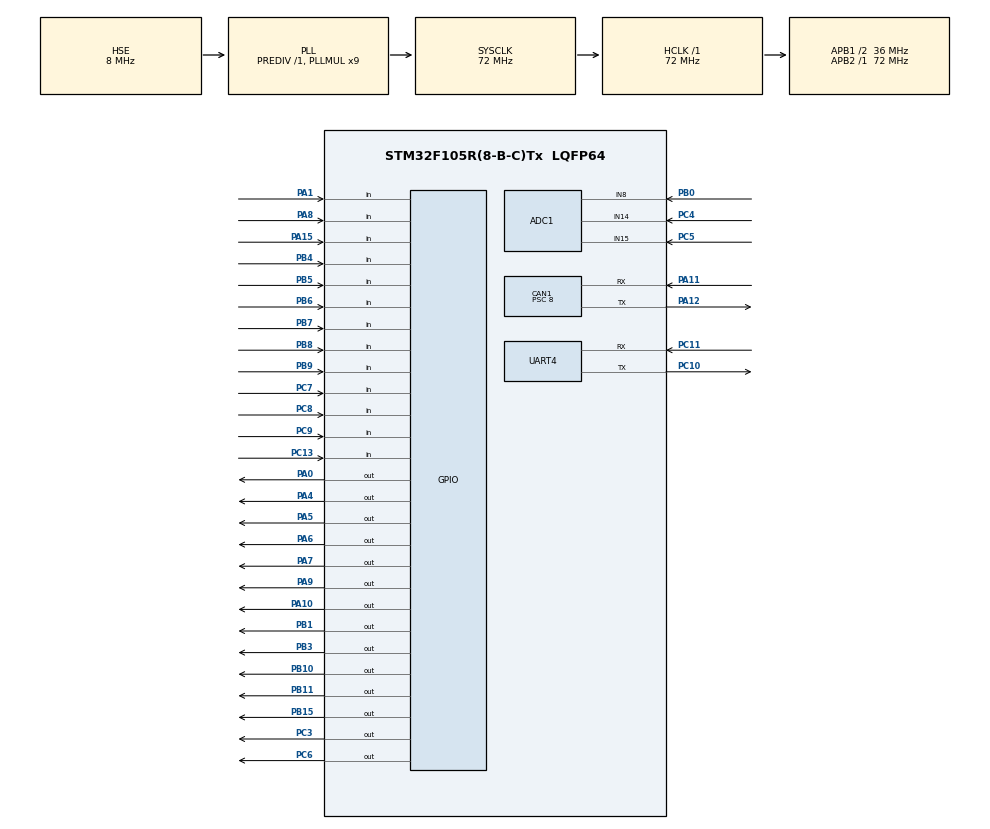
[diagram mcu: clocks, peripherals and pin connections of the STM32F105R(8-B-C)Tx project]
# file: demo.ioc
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ADC1.Channel-0\#ChannelRegularConversion=ADC_CHANNEL_8
ADC1.Channel-1\#ChannelRegularConversion=ADC_CHANNEL_14
ADC1.Channel-2\#ChannelRegularConversion=ADC_CHANNEL_15
ADC1.ContinuousConvMode=ENABLE
ADC1.NbrOfConversion=3
ADC1.NbrOfConversionFlag=1
ADC1.Rank-0\#ChannelRegularConversion=1
ADC1.Rank-1\#ChannelRegularConversion=2
ADC1.Rank-2\#ChannelRegularConversion=3
ADC1.SamplingTime-0\#ChannelRegularConversion=ADC_SAMPLETIME_71CYCLES_5
ADC1.SamplingTime-1\#ChannelRegularConversion=ADC_SAMPLETIME_71CYCLES_5
ADC1.SamplingTime-2\#ChannelRegularConversion=ADC_SAMPLETIME_71CYCLES_5
ADC1.master=1
CAN1.BS1=CAN_BS1_5TQ
CAN1.BS2=CAN_BS2_3TQ
CAN1.CalculateBaudRate=500000
CAN1.CalculateTimeBit=2000
CAN1.CalculateTimeQuantum=222.22222222222223
CAN1.NART=ENABLE
CAN1.Prescaler=8
Dma.ADC1.0.Direction=DMA_PERIPH_TO_MEMORY
Dma.ADC1.0.Instance=DMA1_Channel1
Dma.ADC1.0.MemDataAlignment=DMA_MDATAALIGN_HALFWORD
Dma.ADC1.0.MemInc=DMA_MINC_ENABLE
Dma.ADC1.0.Mode=DMA_CIRCULAR
Dma.ADC1.0.PeriphDataAlignment=DMA_PDATAALIGN_HALFWORD
Dma.ADC1.0.PeriphInc=DMA_PINC_DISABLE
Dma.ADC1.0.Priority=DMA_PRIORITY_LOW
Dma.Request0=ADC1
Mcu.Family=STM32F1
Mcu.Name=STM32F105R(8-B-C)Tx
Mcu.Package=LQFP64
NVIC.CAN1_RX0_IRQn=true\:0\:0\:false\:false\:true\:true\:true\:true
NVIC.DMA1_Channel1_IRQn=true\:0\:0\:false\:false\:true\:false\:true\:true
NVIC.PriorityGroup=NVIC_PRIORITYGROUP_4
NVIC.TIM3_IRQn=true\:0\:0\:false\:false\:true\:true\:true\:true
NVIC.UART4_IRQn=true\:0\:0\:false\:false\:true\:true\:true\:true
PA0-WKUP.GPIO_PuPd=GPIO_PULLUP
PA0-WKUP.GPIO_Speed=GPIO_SPEED_FREQ_MEDIUM
PA0-WKUP.PinState=GPIO_PIN_SET
PA0-WKUP.Signal=GPIO_Output
PA1.GPIO_PuPd=GPIO_PULLUP
PA1.Signal=GPIO_Input
PA10.GPIO_PuPd=GPIO_PULLUP
PA10.GPIO_Speed=GPIO_SPEED_FREQ_MEDIUM
PA10.Signal=GPIO_Output
PA11.Mode=CAN_Activate
PA11.Signal=CAN1_RX
PA12.Mode=CAN_Activate
PA12.Signal=CAN1_TX
PA13.Mode=Serial_Wire
PA13.Signal=SYS_JTMS-SWDIO
PA14.Mode=Serial_Wire
PA14.Signal=SYS_JTCK-SWCLK
PA15.GPIO_PuPd=GPIO_PULLUP
PA15.Signal=GPIO_Input
PA4.GPIO_PuPd=GPIO_PULLUP
PA4.GPIO_Speed=GPIO_SPEED_FREQ_MEDIUM
PA4.PinState=GPIO_PIN_SET
PA4.Signal=GPIO_Output
PA5.Signal=GPIO_Output
PA6.Signal=GPIO_Output
PA7.Signal=GPIO_Output
PA8.GPIO_PuPd=GPIO_PULLUP
PA8.Signal=GPIO_Input
PA9.GPIO_PuPd=GPIO_PULLUP
PA9.GPIO_Speed=GPIO_SPEED_FREQ_MEDIUM
PA9.PinState=GPIO_PIN_RESET
PA9.Signal=GPIO_Output
PB0.Signal=ADCx_IN8
PB1.GPIO_PuPd=GPIO_PULLDOWN
PB1.GPIO_Speed=GPIO_SPEED_FREQ_MEDIUM
PB1.Signal=GPIO_Output
PB10.GPIO_PuPd=GPIO_PULLUP
PB10.GPIO_Speed=GPIO_SPEED_FREQ_HIGH
PB10.PinState=GPIO_PIN_SET
PB10.Signal=GPIO_Output
PB11.GPIO_PuPd=GPIO_PULLUP
PB11.GPIO_Speed=GPIO_SPEED_FREQ_HIGH
PB11.PinState=GPIO_PIN_SET
PB11.Signal=GPIO_Output
PB15.GPIO_PuPd=GPIO_PULLUP
PB15.GPIO_Speed=GPIO_SPEED_FREQ_MEDIUM
PB15.PinState=GPIO_PIN_SET
PB15.Signal=GPIO_Output
PB3.GPIO_PuPd=GPIO_PULLUP
PB3.GPIO_Speed=GPIO_SPEED_FREQ_MEDIUM
PB3.PinState=GPIO_PIN_SET
PB3.Signal=GPIO_Output
PB4.GPIO_PuPd=GPIO_PULLUP
PB4.Signal=GPIO_Input
PB5.GPIO_PuPd=GPIO_PULLUP
PB5.Signal=GPIO_Input
PB6.Signal=GPIO_Input
PB7.GPIO_PuPd=GPIO_PULLDOWN
PB7.Signal=GPIO_Input
PB8.GPIO_PuPd=GPIO_PULLUP
PB8.Signal=GPIO_Input
PB9.GPIO_PuPd=GPIO_PULLUP
PB9.Signal=GPIO_Input
PC10.Mode=Asynchronous
PC10.Signal=UART4_TX
PC11.GPIO_PuPd=GPIO_PULLUP
PC11.Mode=Asynchronous
PC11.Signal=UART4_RX
PC13-TAMPER-RTC.GPIO_PuPd=GPIO_PULLUP
PC13-TAMPER-RTC.Signal=GPIO_Input
PC3.GPIO_PuPd=GPIO_PULLUP
PC3.GPIO_Speed=GPIO_SPEED_FREQ_MEDIUM
PC3.PinState=GPIO_PIN_SET
PC3.Signal=GPIO_Output
PC4.Signal=ADCx_IN14
PC5.Signal=ADCx_IN15
PC6.GPIO_PuPd=GPIO_PULLUP
PC6.GPIO_Speed=GPIO_SPEED_FREQ_MEDIUM
PC6.PinState=GPIO_PIN_SET
PC6.Signal=GPIO_Output
PC7.GPIO_PuPd=GPIO_PULLUP
PC7.Signal=GPIO_Input
PC8.GPIO_PuPd=GPIO_PULLUP
PC8.Signal=GPIO_Input
PC9.GPIO_PuPd=GPIO_PULLUP
PC9.Signal=GPIO_Input
PD0-OSC_IN.Mode=HSE-External-Oscillator
PD0-OSC_IN.Signal=RCC_OSC_IN
PD1-OSC_OUT.Mode=HSE-External-Oscillator
PD1-OSC_OUT.Signal=RCC_OSC_OUT
ProjectManager.HeapSize=0x200
ProjectManager.StackSize=0x400
ProjectManager.TargetToolchain=STM32CubeIDE
RCC.ADCPresc=RCC_ADCPCLK2_DIV6
RCC.AHBFreq_Value=72000000
RCC.APB1CLKDivider=RCC_HCLK_DIV2
RCC.APB1Freq_Value=36000000
RCC.APB1TimFreq_Value=72000000
RCC.APB2Freq_Value=72000000
RCC.APB2TimFreq_Value=72000000
RCC.HCLKFreq_Value=72000000
RCC.PLLMUL=RCC_PLL_MUL9
RCC.PLLSourceVirtual=RCC_PLLSOURCE_HSE
RCC.SYSCLKFreq_VALUE=72000000
RCC.SYSCLKSource=RCC_SYSCLKSOURCE_PLLCLK
RCC.USBFreq_Value=48000000
SH.ADCx_IN14.0=ADC1_IN14,IN14
SH.ADCx_IN15.0=ADC1_IN15,IN15
SH.ADCx_IN8.0=ADC1_IN8,IN8
TIM3.AutoReloadPreload=TIM_AUTORELOAD_PRELOAD_ENABLE
TIM3.Period=4999
TIM3.Prescaler=7199
UART4.VirtualMode=Asynchronous
VP_TIM3_VS_ClockSourceINT.Mode=Internal
board=custom

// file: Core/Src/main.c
/* USER CODE BEGIN Header */
/**
  ******************************************************************************
  * @file           : main.c
  * @brief          : Main program body
  ******************************************************************************
  * @attention
  *
  * Copyright (c) 2025 STMicroelectronics.
  * All rights reserved.
  *
  * This software is licensed under terms that can be found in the LICENSE file
  * in the root directory of this software component.
  * If no LICENSE file comes with this software, it is provided AS-IS.
  *
  ******************************************************************************
  */
/* USER CODE END Header */
#include "main.h"
#include "adc.h"
#include "can.h"
#include "dma.h"
#include "tim.h"
#include "usart.h"
#include "gpio.h"

/* USER CODE BEGIN Includes */
#include "stdio.h"
#include "debug_console.h"   // 服务层头文件
#include "shell_app.h"       // 应用层头文件
#include "string.h"          // 用于字符串比较
#include "soft_spi.h"
#include "SPI_LCD.h"         // LCD 驱动
#include "key_app.h"
#include "can_app.h"
#include "menu_app.h"        // 菜单模块
/* USER CODE END Includes */

/* USER CODE BEGIN PV */
#define FW_VERSION  "V1.0.0"   // 软件版本号
#define ADC_CH_NUM 3
uint16_t adc_values[ADC_CH_NUM];
/* USER CODE END PV */

void SystemClock_Config(void);

/* USER CODE BEGIN 0 */
/**
 * @brief 执行系统软件复位（绕过所有封装，直接写寄存器）
 */
void SystemSoftReset(void)
{
    /* 1. 等待串口发送完成（如果正在使用 printf） */
    for (volatile int i = 0; i < 100000; i++) { __NOP(); }

    /* 2. 禁用全局中断，防止复位过程被打断 */
    __disable_irq();

    /* 3. 使用 SysTick 延时 1ms，确保复位信号稳定 */
    SysTick->LOAD = 72000 - 1;          // 假设系统时钟为 72MHz
    SysTick->VAL  = 0;
    SysTick->CTRL = 5;                  // 使用内核时钟，使能定时器
    while (!(SysTick->CTRL & (1 << 16))); // 等待计数到 0
    SysTick->CTRL = 0;

    /* 4. 直接写 SCB 寄存器触发系统复位 */
    SCB->AIRCR = ((0x5FA << SCB_AIRCR_VECTKEY_Pos) | SCB_AIRCR_SYSRESETREQ_Msk);
    __DSB();   // 数据同步屏障
    __ISB();   // 指令同步屏障

    /* 5. 若复位失败，则死循环防止程序继续执行 */
    while(1);
}
/* USER CODE END 0 */

int main(void)
{

  /* MCU Configuration--------------------------------------------------------*/

  /* Reset of all peripherals, Initializes the Flash interface and the Systick. */
  HAL_Init();

  /* Configure the system clock */
  SystemClock_Config();

  /* Initialize all configured peripherals */
  MX_GPIO_Init();
  MX_DMA_Init();
  MX_TIM3_Init();
  MX_UART4_Init();
  MX_ADC1_Init();
  MX_CAN1_Init();
  /* USER CODE BEGIN 2 */
  HAL_TIM_Base_Start_IT(&htim3);

  Console_Init();   // 初始化调试控制台（开启接收中断、打印欢迎信息）
  CAN_App_Init();   // 初始化 CAN 应用层

  /* ---------- LCD12864 初始化 ---------- */
//  printf("Initializing LCD12864...\r\n");
  Lcd_Init();
  HAL_Delay(10);
  LCD_Clear();

  /* ---------- 启动 ADC-DMA 并初始化按键 ---------- */
//  printf("Starting ADC DMA for key scan...\r\n");
  HAL_ADC_Start_DMA(&hadc1, (uint32_t*)adc_values, ADC_CH_NUM);
  Key_Init();       // 初始化按键状态和消抖结构

  /* ---------- 菜单模块初始化（接管 LCD 显示，默认进入 Page_CAN_Tx） ---------- */
  Menu_Init();      // 绘制默认页面并开启光标（如果处于 Tx 页）

//  printf("System ready. Current page: CAN_Tx\r\n");
//  printf("> ");
  /* USER CODE END 2 */

  /* Infinite loop */
  while (1)
  {

    /* USER CODE BEGIN 3 */
    // 1. 处理串口 Shell 命令
	  // 检查是否有 CAN 接收数据需要刷新 LCD
	  if (rx_data_ready) {
	      rx_data_ready = 0;
	      Menu_NotifyRxDataUpdated();
	  }
	  if (rx_packet1_ready) {
	      rx_packet1_ready = 0;
	      Menu_NotifyRxDataUpdated();
	  }

    char cmd[128];
    if (Console_ReadLine(cmd, sizeof(cmd))) {
        printf("Got: %s\r\n", cmd);
        Shell_Execute(cmd);
        printf("> ");
    }

    // 2. 按键扫描与处理（内部包含长短按分发、页面刷新）
    Key_ScanAndDisplay();

    // 3. CAN 报文调度发送
    CAN_App_Process();

    // 4. 调试代码（每秒打印 PB6 状态，可根据需要注释掉）
/*    static uint32_t last_diag = 0;
    if (HAL_GetTick() - last_diag > 1000) {
        last_diag = HAL_GetTick();
        uint32_t idr = GPIOB->IDR;
        uint8_t idr_bit6 = (idr & GPIO_PIN_6) ? 1 : 0;
        uint8_t hal_bit6 = HAL_GPIO_ReadPin(GPIOB, GPIO_PIN_6);
        printf("IDR=0x%08lX, bit6=%d, HAL=%d\r\n", idr, idr_bit6, hal_bit6);
    }
*/
    HAL_Delay(10); // 10ms 扫描周期，保证响应速度
    /* USER CODE END 3 */
  }
  /* USER CODE END 3 */
}

void SystemClock_Config(void)
{
  RCC_OscInitTypeDef RCC_OscInitStruct = {0};
  RCC_ClkInitTypeDef RCC_ClkInitStruct = {0};
  RCC_PeriphCLKInitTypeDef PeriphClkInit = {0};

  /** Initializes the RCC Oscillators according to the specified parameters
  * in the RCC_OscInitTypeDef structure.
  */
  RCC_OscInitStruct.OscillatorType = RCC_OSCILLATORTYPE_HSE;
  RCC_OscInitStruct.HSEState = RCC_HSE_ON;
  RCC_OscInitStruct.HSEPredivValue = RCC_HSE_PREDIV_DIV1;
  RCC_OscInitStruct.HSIState = RCC_HSI_ON;
  RCC_OscInitStruct.Prediv1Source = RCC_PREDIV1_SOURCE_HSE;
  RCC_OscInitStruct.PLL.PLLState = RCC_PLL_ON;
  RCC_OscInitStruct.PLL.PLLSource = RCC_PLLSOURCE_HSE;
  RCC_OscInitStruct.PLL.PLLMUL = RCC_PLL_MUL9;
  RCC_OscInitStruct.PLL2.PLL2State = RCC_PLL_NONE;
  if (HAL_RCC_OscConfig(&RCC_OscInitStruct) != HAL_OK)
  {
    Error_Handler();
  }

  /** Initializes the CPU, AHB and APB buses clocks
  */
  RCC_ClkInitStruct.ClockType = RCC_CLOCKTYPE_HCLK|RCC_CLOCKTYPE_SYSCLK
                              |RCC_CLOCKTYPE_PCLK1|RCC_CLOCKTYPE_PCLK2;
  RCC_ClkInitStruct.SYSCLKSource = RCC_SYSCLKSOURCE_PLLCLK;
  RCC_ClkInitStruct.AHBCLKDivider = RCC_SYSCLK_DIV1;
  RCC_ClkInitStruct.APB1CLKDivider = RCC_HCLK_DIV2;
  RCC_ClkInitStruct.APB2CLKDivider = RCC_HCLK_DIV1;

  if (HAL_RCC_ClockConfig(&RCC_ClkInitStruct, FLASH_LATENCY_2) != HAL_OK)
  {
    Error_Handler();
  }
  PeriphClkInit.PeriphClockSelection = RCC_PERIPHCLK_ADC;
  PeriphClkInit.AdcClockSelection = RCC_ADCPCLK2_DIV6;
  if (HAL_RCCEx_PeriphCLKConfig(&PeriphClkInit) != HAL_OK)
  {
    Error_Handler();
  }

  /** Configure the Systick interrupt time
  */
  __HAL_RCC_PLLI2S_ENABLE();
}

void Error_Handler(void)
{
  __disable_irq();
  while (1)
  {
  }
}
